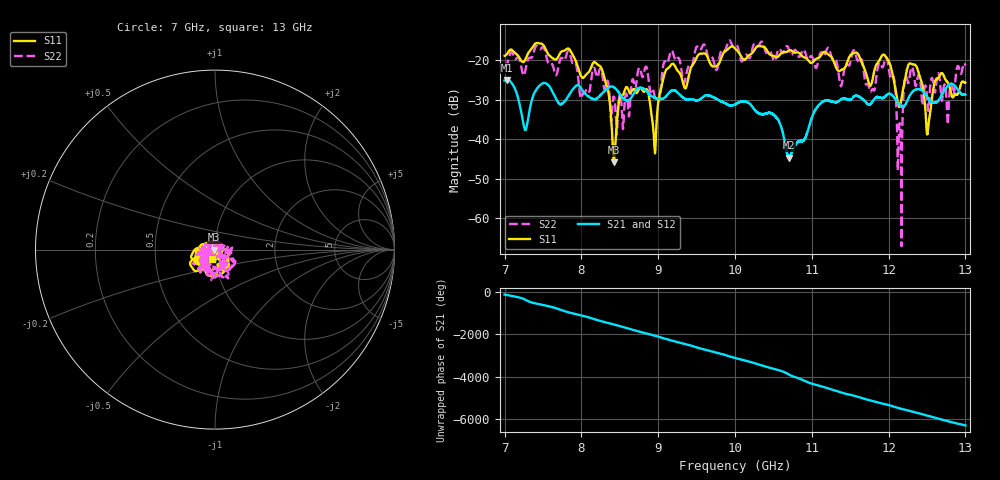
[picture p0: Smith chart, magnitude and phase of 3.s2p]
[Version] 2.0
! Rohde & Schwarz Vector Network Analyzer
! Rohde-Schwarz,ZNL20-2Port,1323001220200009,1.71.1.10-23.02.1.238
! Port Assignments:
! Nominal Port -> Actual Test Port
!  1 -> 1
!  2 -> 2
! Created: GMT+3 2024-09-24 15:07:45
# Hz S DB R 50
[Number of Ports] 2
[Two-Port Data Order] 21_12
! freq[Hz]  S11[mag dB]  S11[ang]  S21[mag dB]  S21[ang]  S12[mag dB]  S12[ang]  S22[mag dB]  S22[ang]
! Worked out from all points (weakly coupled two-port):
!   6001 points, 7 GHz to 13 GHz, reference 50 ohm
!   highest |S21| = -25.06 dB at 7.032 GHz (marker M1); lowest = -44.7 dB at 10.71 GHz (marker M2)
!   lowest |S11| = -45.8 dB at 8.421 GHz (marker M3), VSWR 1.01, Z = 49.5 - j0.105 ohm
!   |S11| at or under -10 dB: start of sweep to end of sweep
!   |S22| runs from -67.0 to -15.1 dB; largest |S21 - S12| = 0.00092
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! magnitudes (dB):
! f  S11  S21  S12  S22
! 7 GHz  -18.9  -25.2  -25.2  -21.2
! 7.032 GHz  -18.5  -25.1  -25.1  -21.1
! 7.269 GHz  -19.9  -37.7  -37.6  -22.8
! 7.478 GHz  -15.9  -26.1  -26.1  -17.0
! 7.832 GHz  -17.1  -29.1  -29.1  -17.8
! 8 GHz  -24.2  -27.3  -27.3  -29.5
! 8.263 GHz  -22.2  -28.6  -28.6  -22.7
! 8.421 GHz  -45.8  -26.9  -26.9  -29.3
! 8.579 GHz  -27.0  -30.1  -30.1  -28.5
! 8.855 GHz  -27.4  -28.1  -28.1  -22.3
! 8.949 GHz  -41.1  -29.5  -29.5  -28.8
! 9 GHz  -30.7  -29.7  -29.7  -30.1
! 9.17 GHz  -21.2  -27.8  -27.8  -17.7
! 10 GHz  -17.1  -31.2  -31.2  -16.4
! 10.71 GHz  -17.6  -44.7  -44.5  -17.6
! 11 GHz  -20.7  -34.6  -34.6  -19.1
! 12 GHz  -20.3  -28.5  -28.6  -21.8
! 12.14 GHz  -31.8  -31.3  -31.3  -36.0
! 12.3 GHz  -21.0  -28.4  -28.4  -21.9
! 12.51 GHz  -37.9  -29.6  -29.5  -32.1
! 12.67 GHz  -23.8  -29.6  -29.6  -25.6
! 13 GHz  -25.7  -28.7  -28.7  -21.4
